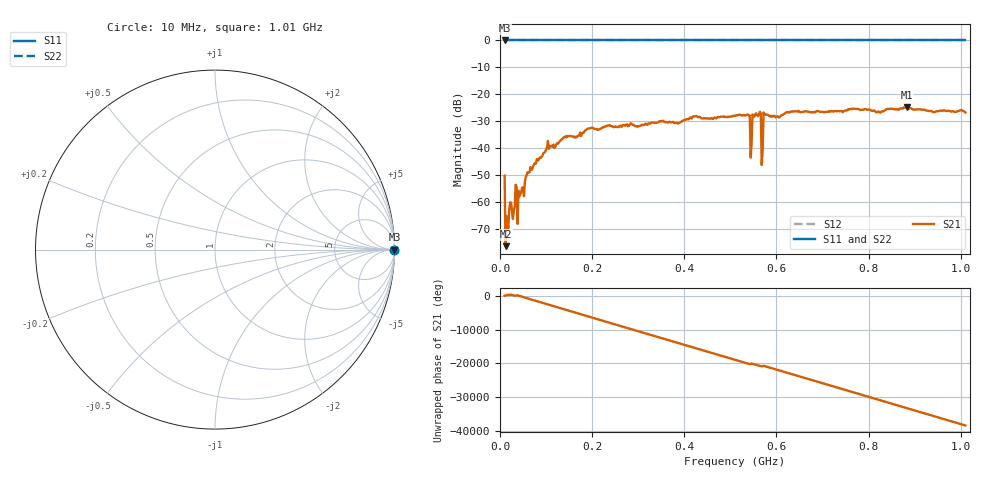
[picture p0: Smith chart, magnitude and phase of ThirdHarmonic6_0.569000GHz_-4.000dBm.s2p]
! 8/15/2025 6:14:37 PM
! C:\ANRITSUVNA\TEMP\TEMP.S2P
! CHANNEL.1
! TR.MEASUREMENT
! RAW.DATA
! RF.CORRECTION.OFF
! AVERAGING.OFF
! IF.BANDWIDTH: 5KHZ
! SWEEPTYPE:  FREQ.SWEEP(Linear)
! Reference Plane Port Info
! PORT:  PORT1  PORT2
! DISTANCE:  0  m  0  m
! TIME:  0  s  0  s
! PHASE.OFFSET:  0  deg.  0  deg.
! LOSS:  0  dB  0  dB
! REF.LOSS:  0  dB  0  dB
! REF.FREQ:  0  Hz  0  Hz
! Power Info
! POWER:  -20  dBm  -20  dBm
! EFF.POWER:  -20  dBm  -20  dBm
! SOURCE.ATTEN:  0  dB  0  dB
! TEST.ATTEN:  0  dB  0  dB
# GHZ S RI R 50.0
! FREQ.GHZ  S11RE  S11IM  S21RE  S21IM  S12RE  S12IM  S22RE  S22IM
!; PortSelection: Port_12
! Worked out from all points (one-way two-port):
!   501 points, 10 MHz to 1.01 GHz, reference 50 ohm
!   highest |S21| = -24.79 dB at 884 MHz (marker M1); lowest = -76.2 dB at 12 MHz (marker M2)
!   lowest |S11| = 0.0 dB at 10 MHz (marker M3)
!   |S11| at or under -10 dB: nowhere
!   |S22| runs from 0.0 to 0.0 dB; largest |S21 - S12| = 1.1
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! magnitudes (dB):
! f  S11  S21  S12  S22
! 10 MHz  0.0  -50.1  0.0  0.0
! 12 MHz  0.0  -76.2  0.0  0.0
! 16 MHz  0.0  -67.1  0.0  0.0
! 20 MHz  0.0  -62.7  0.0  0.0
! 42 MHz  0.0  -57.8  0.0  0.0
! 62 MHz  0.0  -49.0  0.0  0.0
! 104 MHz  0.0  -37.2  0.0  0.0
! 178 MHz  0.0  -34.4  0.0  0.0
! 344 MHz  0.0  -30.3  0.0  0.0
! 510 MHz  0.0  -27.9  0.0  0.0
! 538 MHz  0.0  -27.4  0.0  0.0
! 542 MHz  0.0  -27.8  0.0  0.0
! 548 MHz  0.0  -27.4  0.0  0.0
! 552 MHz  0.0  -28.2  0.0  0.0
! 562 MHz  0.0  -27.5  0.0  0.0
! 566 MHz  0.0  -27.1  0.0  0.0
! 572 MHz  0.0  -26.7  0.0  0.0
! 576 MHz  0.0  -27.4  0.0  0.0
! 678 MHz  0.0  -26.7  0.0  0.0
! 844 MHz  0.0  -25.5  0.0  0.0
! 884 MHz  0.0  -24.8  0.0  0.0
! 1.01 GHz  0.0  -26.7  0.0  0.0
